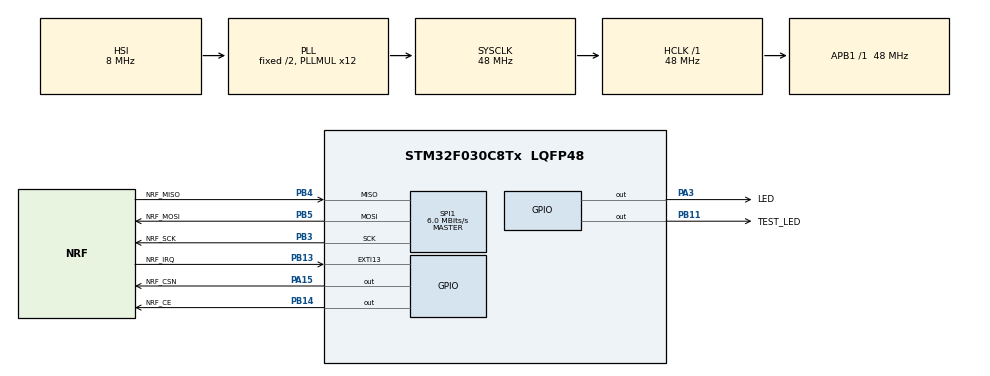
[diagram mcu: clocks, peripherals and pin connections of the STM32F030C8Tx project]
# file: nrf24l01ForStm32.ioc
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Dma.Request0=SPI1_RX
Dma.Request1=SPI1_TX
Dma.SPI1_RX.0.Direction=DMA_PERIPH_TO_MEMORY
Dma.SPI1_RX.0.Instance=DMA1_Channel2
Dma.SPI1_RX.0.MemDataAlignment=DMA_MDATAALIGN_BYTE
Dma.SPI1_RX.0.MemInc=DMA_MINC_ENABLE
Dma.SPI1_RX.0.Mode=DMA_NORMAL
Dma.SPI1_RX.0.PeriphDataAlignment=DMA_PDATAALIGN_BYTE
Dma.SPI1_RX.0.PeriphInc=DMA_PINC_DISABLE
Dma.SPI1_RX.0.Priority=DMA_PRIORITY_MEDIUM
Dma.SPI1_TX.1.Direction=DMA_MEMORY_TO_PERIPH
Dma.SPI1_TX.1.Instance=DMA1_Channel3
Dma.SPI1_TX.1.MemDataAlignment=DMA_MDATAALIGN_BYTE
Dma.SPI1_TX.1.MemInc=DMA_MINC_ENABLE
Dma.SPI1_TX.1.Mode=DMA_NORMAL
Dma.SPI1_TX.1.PeriphDataAlignment=DMA_PDATAALIGN_BYTE
Dma.SPI1_TX.1.PeriphInc=DMA_PINC_DISABLE
Dma.SPI1_TX.1.Priority=DMA_PRIORITY_MEDIUM
Mcu.Family=STM32F0
Mcu.Name=STM32F030C8Tx
Mcu.Package=LQFP48
NVIC.DMA1_Channel2_3_IRQn=true\:0\:0\:false\:false\:true\:false\:true\:true
NVIC.EXTI4_15_IRQn=true\:0\:0\:false\:false\:true\:true\:true\:true
NVIC.SPI1_IRQn=true\:0\:0\:false\:false\:true\:true\:true\:true
PA15.GPIO_Label=NRF_CSN
PA15.PinState=GPIO_PIN_RESET
PA15.Signal=GPIO_Output
PA3.GPIO_Label=LED
PA3.Signal=GPIO_Output
PB11.GPIO_Label=TEST_LED
PB11.Signal=GPIO_Output
PB13.GPIO_Label=NRF_IRQ
PB13.GPIO_ModeDefaultEXTI=GPIO_MODE_IT_FALLING
PB13.Signal=GPXTI13
PB14.GPIO_Label=NRF_CE
PB14.Signal=GPIO_Output
PB3.GPIO_Label=NRF_SCK
PB3.Mode=Full_Duplex_Master
PB3.Signal=SPI1_SCK
PB4.GPIO_Label=NRF_MISO
PB4.Mode=Full_Duplex_Master
PB4.Signal=SPI1_MISO
PB5.GPIO_Label=NRF_MOSI
PB5.Mode=Full_Duplex_Master
PB5.Signal=SPI1_MOSI
ProjectManager.HeapSize=0x200
ProjectManager.StackSize=0x400
ProjectManager.TargetToolchain=STM32CubeIDE
RCC.AHBFreq_Value=48000000
RCC.APB1Freq_Value=48000000
RCC.APB1TimFreq_Value=48000000
RCC.HCLKFreq_Value=48000000
RCC.PLLMUL=RCC_PLL_MUL12
RCC.SYSCLKFreq_VALUE=48000000
RCC.SYSCLKSource=RCC_SYSCLKSOURCE_PLLCLK
SPI1.BaudRatePrescaler=SPI_BAUDRATEPRESCALER_8
SPI1.CLKPhase=SPI_PHASE_1EDGE
SPI1.CLKPolarity=SPI_POLARITY_LOW
SPI1.CalculateBaudRate=6.0 MBits/s
SPI1.DataSize=SPI_DATASIZE_8BIT
SPI1.Direction=SPI_DIRECTION_2LINES
SPI1.Mode=SPI_MODE_MASTER
SPI1.NSSPMode=SPI_NSS_PULSE_DISABLE
SPI1.VirtualType=VM_MASTER
board=custom

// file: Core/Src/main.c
/* USER CODE BEGIN Header */
/**
  ******************************************************************************
  * @file           : main.c
  * @brief          : Main program body
  ******************************************************************************
  * @attention
  *
  * Copyright (c) 2025 STMicroelectronics.
  * All rights reserved.
  *
  * This software is licensed under terms that can be found in the LICENSE file
  * in the root directory of this software component.
  * If no LICENSE file comes with this software, it is provided AS-IS.
  *
  ******************************************************************************
  */
/* USER CODE END Header */
#include "main.h"

/* USER CODE BEGIN Includes */
#include <string.h>
#include "nrf24.h"
/* USER CODE END Includes */

SPI_HandleTypeDef hspi1;
DMA_HandleTypeDef hdma_spi1_rx;
DMA_HandleTypeDef hdma_spi1_tx;

void SystemClock_Config(void);
static void MX_GPIO_Init(void);
static void MX_DMA_Init(void);
static void MX_SPI1_Init(void);

/* USER CODE BEGIN 0 */
 static uint8_t recData[32]={0};
 static uint8_t testPacket[5] = { 0x11, 0x22, 0x33, 0x44, 0x55 };
bool volatile dataReceived=false;
void ReceiveDataFromNRF(uint8_t* data, uint8_t pipe){
	memcpy(recData,data,32);
	dataReceived=true;

}
/* USER CODE END 0 */

int main(void)
{
  /* USER CODE BEGIN 1 */
	uint32_t lastSendTick = 0;
	uint32_t lastReceivedTick = 0;
	uint32_t nrfResetTimer=HAL_GetTick();
	uint16_t resetCount=0;
	bool send1stTime=true;
  /* USER CODE END 1 */

  /* MCU Configuration--------------------------------------------------------*/

  /* Reset of all peripherals, Initializes the Flash interface and the Systick. */
  HAL_Init();

  /* Configure the system clock */
  SystemClock_Config();

  /* Initialize all configured peripherals */
  MX_GPIO_Init();
  MX_DMA_Init();
  MX_SPI1_Init();
  /* USER CODE BEGIN 2 */
  NRF_Init(&hspi1,ReceiveDataFromNRF,30);
  /* USER CODE END 2 */

  /* Infinite loop */
  /* USER CODE BEGIN WHILE */
  while (1)
  {
	  NRF_Process();
	  //----------------------------test
	  //used in master***************************************************
	  // send
	    if (HAL_GetTick() - lastSendTick >= 500)
	    {

	        if (NRF_CheckTransmittingAvailability())
	        {
	            NRF_TransmitPacket(testPacket, sizeof(testPacket),0);
	            lastSendTick = HAL_GetTick();
	        }
	    }
	    if(dataReceived){
	        	dataReceived=false;
	        	nrfResetTimer=HAL_GetTick();
	        	if(recData[0]==0x11 && recData[1]==0x22 &&recData[2]==0x33 && recData[3]==0x44 && recData[4]==0x55){
	        		HAL_GPIO_WritePin(LED_GPIO_Port, LED_Pin, 1);
	        		lastReceivedTick=HAL_GetTick();
	        	}

	    }

	    if(HAL_GetTick()-lastReceivedTick>1500){
	    	HAL_GPIO_WritePin(LED_GPIO_Port, LED_Pin, 0);

	    }

	    //used in mirror***************************************************

//	    if(dataReceived){
//
//	        if (NRF_CheckTransmittingAvailability())
//	        {
//	        	dataReceived=false;
//	        	nrfResetTimer=HAL_GetTick();
//	            NRF_TransmitPacket(recData,5,0);
//
//	        }
//	    	//do something with recData
//	    }

    // used in both ***************************************************

	    	if(HAL_GetTick()-nrfResetTimer>6000){
	    		nrfResetTimer=HAL_GetTick();
	    		resetCount+=1;
	    		for(uint16_t i=0;i<resetCount;i++){
	    			HAL_GPIO_WritePin(TEST_LED_GPIO_Port, TEST_LED_Pin, 1);
	    			HAL_Delay(300);
	    			HAL_GPIO_WritePin(TEST_LED_GPIO_Port, TEST_LED_Pin, 0);
	    			HAL_Delay(300);
	    		}
	    		NRF_ResetModule();
	    	}

	    //----------------------------test end

    /* USER CODE END WHILE */

  }
}

void SystemClock_Config(void)
{
  RCC_OscInitTypeDef RCC_OscInitStruct = {0};
  RCC_ClkInitTypeDef RCC_ClkInitStruct = {0};

  /** Initializes the RCC Oscillators according to the specified parameters
  * in the RCC_OscInitTypeDef structure.
  */
  RCC_OscInitStruct.OscillatorType = RCC_OSCILLATORTYPE_HSI;
  RCC_OscInitStruct.HSIState = RCC_HSI_ON;
  RCC_OscInitStruct.HSICalibrationValue = RCC_HSICALIBRATION_DEFAULT;
  RCC_OscInitStruct.PLL.PLLState = RCC_PLL_ON;
  RCC_OscInitStruct.PLL.PLLSource = RCC_PLLSOURCE_HSI;
  RCC_OscInitStruct.PLL.PLLMUL = RCC_PLL_MUL12;
  RCC_OscInitStruct.PLL.PREDIV = RCC_PREDIV_DIV1;
  if (HAL_RCC_OscConfig(&RCC_OscInitStruct) != HAL_OK)
  {
    Error_Handler();
  }

  /** Initializes the CPU, AHB and APB buses clocks
  */
  RCC_ClkInitStruct.ClockType = RCC_CLOCKTYPE_HCLK|RCC_CLOCKTYPE_SYSCLK
                              |RCC_CLOCKTYPE_PCLK1;
  RCC_ClkInitStruct.SYSCLKSource = RCC_SYSCLKSOURCE_PLLCLK;
  RCC_ClkInitStruct.AHBCLKDivider = RCC_SYSCLK_DIV1;
  RCC_ClkInitStruct.APB1CLKDivider = RCC_HCLK_DIV1;

  if (HAL_RCC_ClockConfig(&RCC_ClkInitStruct, FLASH_LATENCY_1) != HAL_OK)
  {
    Error_Handler();
  }
}

static void MX_SPI1_Init(void)
{

  /* SPI1 parameter configuration*/
  hspi1.Instance = SPI1;
  hspi1.Init.Mode = SPI_MODE_MASTER;
  hspi1.Init.Direction = SPI_DIRECTION_2LINES;
  hspi1.Init.DataSize = SPI_DATASIZE_8BIT;
  hspi1.Init.CLKPolarity = SPI_POLARITY_LOW;
  hspi1.Init.CLKPhase = SPI_PHASE_1EDGE;
  hspi1.Init.NSS = SPI_NSS_SOFT;
  hspi1.Init.BaudRatePrescaler = SPI_BAUDRATEPRESCALER_8;
  hspi1.Init.FirstBit = SPI_FIRSTBIT_MSB;
  hspi1.Init.TIMode = SPI_TIMODE_DISABLE;
  hspi1.Init.CRCCalculation = SPI_CRCCALCULATION_DISABLE;
  hspi1.Init.CRCPolynomial = 7;
  hspi1.Init.CRCLength = SPI_CRC_LENGTH_DATASIZE;
  hspi1.Init.NSSPMode = SPI_NSS_PULSE_DISABLE;
  if (HAL_SPI_Init(&hspi1) != HAL_OK)
  {
    Error_Handler();
  }

}

static void MX_DMA_Init(void)
{

  /* DMA controller clock enable */
  __HAL_RCC_DMA1_CLK_ENABLE();

  /* DMA interrupt init */
  /* DMA1_Channel2_3_IRQn interrupt configuration */
  HAL_NVIC_SetPriority(DMA1_Channel2_3_IRQn, 0, 0);
  HAL_NVIC_EnableIRQ(DMA1_Channel2_3_IRQn);

}

static void MX_GPIO_Init(void)
{
  GPIO_InitTypeDef GPIO_InitStruct = {0};

  /* GPIO Ports Clock Enable */
  __HAL_RCC_GPIOA_CLK_ENABLE();
  __HAL_RCC_GPIOB_CLK_ENABLE();

  /*Configure GPIO pin Output Level */
  HAL_GPIO_WritePin(GPIOA, LED_Pin|NRF_CSN_Pin, GPIO_PIN_RESET);

  /*Configure GPIO pin Output Level */
  HAL_GPIO_WritePin(GPIOB, TEST_LED_Pin|NRF_CE_Pin, GPIO_PIN_RESET);

  /*Configure GPIO pins : LED_Pin NRF_CSN_Pin */
  GPIO_InitStruct.Pin = LED_Pin|NRF_CSN_Pin;
  GPIO_InitStruct.Mode = GPIO_MODE_OUTPUT_PP;
  GPIO_InitStruct.Pull = GPIO_NOPULL;
  GPIO_InitStruct.Speed = GPIO_SPEED_FREQ_LOW;
  HAL_GPIO_Init(GPIOA, &GPIO_InitStruct);

  /*Configure GPIO pins : TEST_LED_Pin NRF_CE_Pin */
  GPIO_InitStruct.Pin = TEST_LED_Pin|NRF_CE_Pin;
  GPIO_InitStruct.Mode = GPIO_MODE_OUTPUT_PP;
  GPIO_InitStruct.Pull = GPIO_NOPULL;
  GPIO_InitStruct.Speed = GPIO_SPEED_FREQ_LOW;
  HAL_GPIO_Init(GPIOB, &GPIO_InitStruct);

  /*Configure GPIO pin : NRF_IRQ_Pin */
  GPIO_InitStruct.Pin = NRF_IRQ_Pin;
  GPIO_InitStruct.Mode = GPIO_MODE_IT_FALLING;
  GPIO_InitStruct.Pull = GPIO_NOPULL;
  HAL_GPIO_Init(NRF_IRQ_GPIO_Port, &GPIO_InitStruct);

  /* EXTI interrupt init*/
  HAL_NVIC_SetPriority(EXTI4_15_IRQn, 0, 0);
  HAL_NVIC_EnableIRQ(EXTI4_15_IRQn);

}

/* USER CODE BEGIN 4 */
void HAL_SPI_TxRxCpltCallback(SPI_HandleTypeDef * hspi)
{
NRF_FinishSpiTransaction();
}
void HAL_GPIO_EXTI_Callback(uint16_t GPIO_Pin)
{
	NRF_IrqInterruptRoutin();
}
/* USER CODE END 4 */

void Error_Handler(void)
{
  __disable_irq();
  while (1)
  {
  }
}
